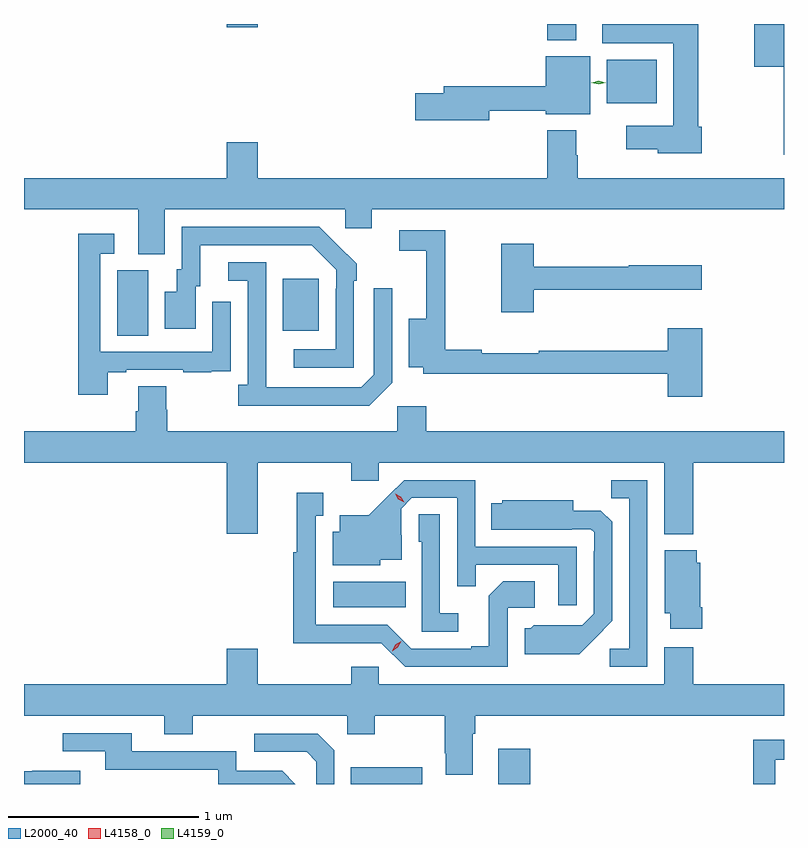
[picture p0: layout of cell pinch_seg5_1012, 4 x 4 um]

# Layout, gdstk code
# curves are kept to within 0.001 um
import gdstk
lib = gdstk.Library(unit=1e-6, precision=1e-09)
def R(c, l, rs):  # rectangles x0, y0, x1, y1
    for r in rs: c.add(gdstk.rectangle(r[:2], r[2:], *l))
def P(c, l, *ps):  # polygons
    for p in ps: c.add(gdstk.Polygon(p, *l))
L2000_40 = (2000, 40)
L4158_0 = (4158, 0)
L4159_0 = (4159, 0)

pinch_seg5_1012 = lib.new_cell('pinch_seg5_1012')
R(pinch_seg5_1012, L2000_40, [(729.097,843.08,729.475,843.169), (729.875,843.08,730.043,843.265), (729.006,844.01,729.386,844.144), (727.868,845.44,728.032,845.784), (728.741,845.465,728.929,845.74), (730.445,846.662,730.708,846.892), (730.133,846.995,730.285,847.08), (728.444,847.062,728.608,847.08)])
P(pinch_seg5_1012, L2000_40, [(731.378,847.08),(731.222,847.08),(731.222,846.854),(731.377,846.854),(731.377,846.393),(731.378,846.393)],
  [(730.944,846.54),(730.926,846.54),(730.926,847.08),(730.421,847.08),(730.421,846.98),(730.796,846.98),(730.796,846.544),(730.548,846.544),(730.548,846.422),(730.713,846.422),(730.713,846.401),(730.944,846.401)],
  [(729.826,846.624),(730.124,846.624),(730.124,846.605),(730.357,846.605),(730.357,846.91),(730.124,846.91),(730.124,846.752),(729.587,846.752),(729.587,846.716),(729.438,846.716),(729.438,846.574),(729.826,846.574)],
  [(728.119,846.104),(729.069,846.104),(729.069,846.006),(729.208,846.006),(729.208,846.104),(731.378,846.104),(731.378,846.268),(730.293,846.268),(730.293,846.389),(730.285,846.389),(730.285,846.52),(730.133,846.52),(730.133,846.268),(728.608,846.268),(728.608,846.457),(728.444,846.457),(728.444,846.268),(727.378,846.268),(727.378,846.104),(727.979,846.104),(727.979,845.869),(728.119,845.869)],
  [(729.114,845.729),(729.129,845.729),(729.129,845.817),(728.932,846.012),(728.208,846.012),(728.208,845.79),(728.183,845.79),(728.183,845.671),(728.12,845.671),(728.12,845.475),(728.281,845.475),(728.281,845.7),(728.305,845.7),(728.305,845.916),(728.893,845.916),(729.021,845.787),(729.021,845.687),(729.018,845.687),(729.018,845.367),(728.799,845.367),(728.799,845.271),(729.114,845.271)],
  [(730.949,845.479),(730.766,845.479),(730.766,845.359),(730.088,845.359),(730.088,845.348),(729.788,845.348),(729.788,845.366),(729.596,845.366),(729.596,845.994),(729.354,845.994),(729.354,845.886),(729.494,845.886),(729.494,845.53),(729.404,845.53),(729.404,845.273),(729.48,845.273),(729.48,845.238),(730.766,845.238),(730.766,845.118),(730.949,845.118)],
  [(727.819,845.247),(727.915,845.247),(727.915,845.259),(728.215,845.259),(728.215,845.247),(728.363,845.247),(728.363,845.253),(728.465,845.253),(728.465,845.362),(728.466,845.362),(728.466,845.617),(728.37,845.617),(728.37,845.355),(727.779,845.355),(727.779,845.871),(727.852,845.871),(727.852,845.977),(727.663,845.977),(727.663,845.13),(727.819,845.13)],
  [(730.061,845.682),(730.66,845.682),(730.66,845.681),(730.945,845.681),(730.945,845.811),(730.56,845.811),(730.56,845.803),(730.061,845.803),(730.061,845.923),(729.89,845.923),(729.89,845.562),(730.061,845.562)],
  [(729.315,845.193),(729.315,845.689),(729.219,845.689),(729.219,845.235),(729.153,845.169),(728.653,845.169),(728.652,845.826),(728.454,845.826),(728.454,845.73),(728.556,845.73),(728.556,845.182),(728.505,845.182),(728.505,845.072),(729.194,845.072)],
  [(728.444,844.398),(728.608,844.398),(728.608,844.772),(729.1,844.772),(729.1,844.677),(729.246,844.677),(729.246,844.772),(730.748,844.772),(730.748,844.394),(730.901,844.394),(730.901,844.772),(731.378,844.772),(731.378,844.936),(729.494,844.936),(729.494,845.068),(729.342,845.068),(729.342,844.936),(728.132,844.936),(728.132,845.049),(728.127,845.049),(728.127,845.174),(727.979,845.174),(727.979,845.042),(727.967,845.042),(727.967,844.936),(727.378,844.936),(727.378,844.772),(728.444,844.772)],
  [(730.659,844.68),(730.468,844.68),(730.468,844.585),(730.563,844.585),(730.563,843.792),(730.461,843.792),(730.461,843.696),(730.659,843.696)],
  [(730.287,844.329),(729.753,844.329),(729.753,844.68),(729.38,844.68),(729.193,844.495),(729.041,844.495),(729.041,844.408),(729.002,844.408),(729.002,844.232),(729.252,844.232),(729.252,844.259),(729.367,844.259),(729.367,844.388),(729.363,844.388),(729.363,844.53),(729.42,844.587),(729.657,844.587),(729.657,844.12),(729.755,844.12),(729.755,844.233),(730.191,844.233),(730.191,844.02),(730.287,844.02)],
  [(729.924,844.008),(730.066,844.008),(730.066,844.148),(729.901,844.148),(729.825,844.072),(729.825,843.805),(729.731,843.805),(729.731,843.792),(729.417,843.792),(729.291,843.918),(728.914,843.918),(728.914,844.491),(728.953,844.491),(728.953,844.612),(728.813,844.612),(728.813,844.299),(728.796,844.299),(728.796,843.821),(729.258,843.822),(729.384,843.696),(729.924,843.696)],
  [(730.381,843.845),(730.473,843.938),(730.473,844.46),(730.414,844.519),(730.27,844.519),(730.27,844.573),(729.894,844.573),(729.894,844.558),(729.838,844.558),(729.838,844.418),(730.262,844.418),(730.262,844.422),(730.362,844.422),(730.38,844.404),(730.38,844.304),(730.377,844.304),(730.377,843.975),(730.317,843.915),(730.06,843.916),(730.044,843.9),(730.013,843.9),(730.013,843.764),(730.301,843.764)],
  [(729.664,843.979),(729.567,843.979),(729.567,844.499),(729.456,844.499),(729.456,844.356),(729.471,844.356),(729.471,843.882),(729.664,843.882)],
  [(730.949,844.009),(730.936,844.009),(730.936,844.245),(730.918,844.245),(730.918,844.309),(730.751,844.309),(730.751,843.978),(730.778,843.978),(730.778,843.897),(730.949,843.897)],
  [(729.246,843.697),(729.1,843.697),(729.1,843.604),(728.608,843.604),(728.608,843.793),(728.444,843.793),(728.444,843.604),(727.378,843.604),(727.378,843.44),(728.117,843.44),(728.117,843.341),(728.265,843.341),(728.265,843.44),(729.078,843.44),(729.078,843.341),(729.225,843.341),(729.225,843.44),(729.592,843.44),(729.592,843.241),(729.599,843.241),(729.599,843.129),(729.739,843.129),(729.739,843.344),(729.752,843.344),(729.752,843.44),(731.378,843.44),(731.378,843.604),(730.901,843.604),(730.901,843.799),(730.748,843.799),(730.748,843.604),(729.246,843.604)],
  [(728.736,843.15),(728.496,843.15),(728.496,843.252),(727.945,843.252),(727.945,843.348),(727.581,843.348),(727.581,843.252),(727.805,843.252),(727.805,843.156),(728.4,843.156),(728.4,843.08),(728.806,843.08)],
  [(729.012,843.258),(728.925,843.345),(728.589,843.345),(728.589,843.249),(728.865,843.249),(728.916,843.198),(728.916,843.08),(729.012,843.08)],
  [(731.331,843.207),(731.378,843.207),(731.378,843.313),(731.215,843.313),(731.215,843.08),(731.331,843.08)],
  [(727.675,843.151),(727.421,843.151),(727.421,843.147),(727.378,843.147),(727.378,843.08),(727.675,843.08)])
P(pinch_seg5_1012, L4158_0, [(729.378,844.562),(729.348,844.578),(729.331,844.607),(729.331,844.607),(729.331,844.607),(729.362,844.592),(729.378,844.562),(729.378,844.562)],
  [(729.315,843.78),(729.315,843.78),(729.332,843.813),(729.363,843.832),(729.364,843.832),(729.364,843.831),(729.346,843.799),(729.315,843.78)])
P(pinch_seg5_1012, L4159_0, [(730.402,846.762),(730.363,846.771),(730.363,846.771),(730.363,846.772),(730.402,846.782),(730.44,846.772),(730.44,846.772),(730.44,846.772)])

lib.write_gds('pinch_seg5_1012.gds')
